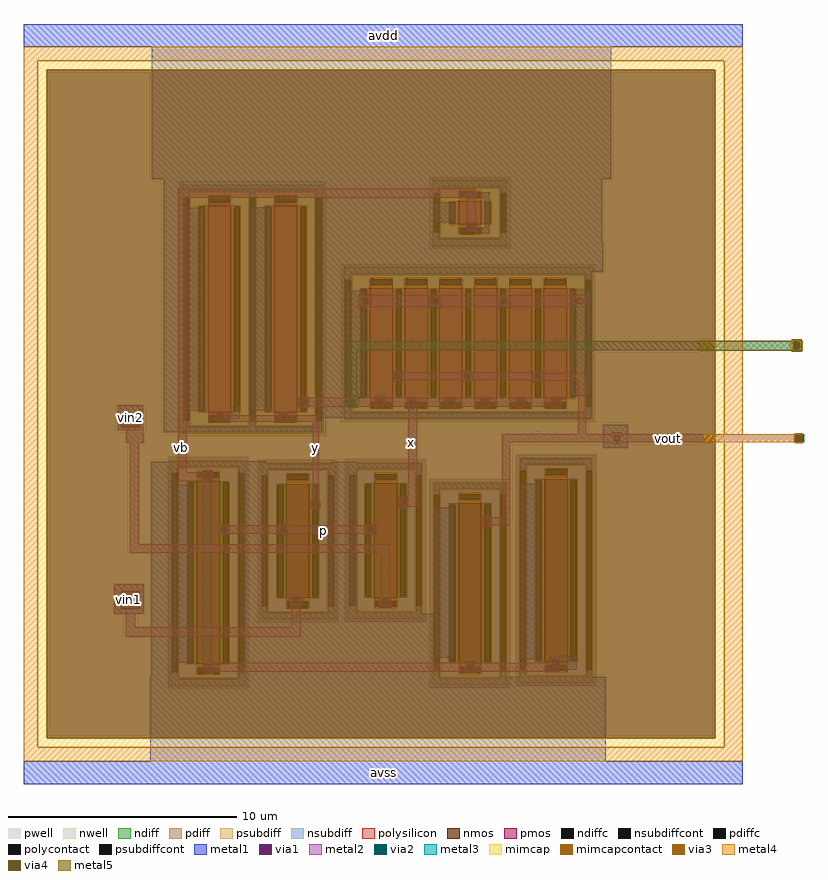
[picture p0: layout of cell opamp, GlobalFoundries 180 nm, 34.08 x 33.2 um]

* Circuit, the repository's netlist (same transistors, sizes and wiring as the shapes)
** sch_path: /foss/designs/libs/snn_analog/sch/opamp/opamp.sch
.subckt opamp avdd avss vin1 vin2 vout
*.PININFO avdd:B avss:B vin1:I vin2:I vout:O
M1 y vin1 net1 avss nfet_03v3 L=1u W=5u nf=1
M2 x vin2 net1 avss nfet_03v3 L=1u W=5u nf=1
M3 y y avdd avdd pfet_03v3 L=1u W=9u nf=1
M4 x y avdd avdd pfet_03v3 L=1u W=9u nf=1
M5 net1 vb avss avss nfet_03v3 L=1u W=8u nf=1
M6 vout x avdd avdd pfet_03v3 L=1u W=28.8u nf=6
M7 vout vb avss avss nfet_03v3 L=1u W=7u nf=1
M8 vb vb avss avss nfet_03v3 L=1u W=8u nf=1
M9 vb vb avdd avdd pfet_03v3 L=1u W=1u nf=1
XC1 x vout cap_mim_2f0fF c_width=30e-6 c_length=30e-6
.ends

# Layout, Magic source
magic
tech gf180mcuD
magscale 1 10
<< metal1 >>
rect 0 6440 6280 6640
rect 1117 5282 5129 6440
rect 1222 5227 5052 5282
rect 1222 5209 3598 5227
rect 1222 5036 1418 5209
rect 2578 5080 3598 5209
rect 3835 5124 4071 5170
rect 3994 5123 4071 5124
rect 1981 5040 2020 5051
rect 818 3171 1044 3308
rect 818 3119 854 3171
rect 1010 3119 1044 3171
rect 818 3091 1044 3119
rect 1222 3265 1575 5036
rect 1222 3074 1418 3265
rect 1677 3247 1750 3252
rect 1828 3247 1884 3306
rect 1981 3267 2166 5040
rect 2578 4910 3770 5080
rect 4025 4920 4071 5123
rect 2578 4738 3598 4910
rect 3859 4897 3956 4908
rect 3859 4845 3881 4897
rect 3933 4859 3956 4897
rect 4024 4859 4071 4920
rect 3933 4845 4071 4859
rect 3859 4835 4071 4845
rect 3944 4813 4071 4835
rect 4188 4738 5052 5227
rect 2578 4475 5063 4738
rect 2578 4472 3598 4475
rect 2578 4310 2833 4472
rect 2578 4280 2980 4310
rect 2578 4244 3039 4280
rect 2578 4192 2956 4244
rect 3008 4192 3039 4244
rect 2578 4167 3039 4192
rect 3532 4246 3651 4271
rect 3532 4194 3567 4246
rect 3619 4194 3651 4246
rect 2406 3360 2489 3387
rect 2406 3308 2421 3360
rect 2473 3308 2489 3360
rect 2406 3282 2489 3308
rect 2578 3380 2980 4167
rect 3532 4158 3651 4194
rect 4135 4246 4254 4276
rect 4135 4194 4168 4246
rect 4220 4194 4254 4246
rect 4135 4163 4254 4194
rect 4770 4246 4960 4320
rect 4770 4194 4831 4246
rect 4883 4194 4960 4246
rect 3232 3587 3310 3610
rect 3232 3535 3243 3587
rect 3295 3535 3310 3587
rect 3232 3512 3310 3535
rect 3834 3587 3919 3610
rect 3834 3535 3853 3587
rect 3905 3535 3919 3587
rect 3834 3513 3919 3535
rect 4441 3587 4539 3605
rect 4441 3535 4464 3587
rect 4516 3535 4539 3587
rect 4441 3516 4539 3535
rect 1981 3254 2018 3267
rect 1677 3245 1884 3247
rect 1677 3193 1691 3245
rect 1743 3193 1884 3245
rect 1677 3191 1884 3193
rect 2228 3247 2309 3254
rect 2228 3195 2242 3247
rect 2294 3195 2309 3247
rect 2578 3200 2833 3380
rect 3069 3361 3152 3397
rect 4770 3390 4960 4194
rect 3069 3309 3084 3361
rect 3136 3309 3152 3361
rect 3069 3292 3152 3309
rect 3343 3361 3450 3381
rect 3688 3374 3765 3382
rect 3343 3309 3369 3361
rect 3421 3309 3450 3361
rect 3343 3296 3450 3309
rect 3680 3360 3773 3374
rect 3680 3308 3700 3360
rect 3752 3308 3773 3360
rect 3680 3295 3773 3308
rect 3985 3360 4067 3385
rect 3985 3308 3999 3360
rect 4051 3308 4067 3360
rect 3072 3289 3149 3292
rect 3688 3289 3765 3295
rect 3985 3289 4067 3308
rect 4299 3360 4381 3385
rect 4299 3308 4313 3360
rect 4365 3308 4381 3360
rect 4299 3289 4381 3308
rect 4605 3360 4695 3385
rect 4605 3308 4619 3360
rect 4671 3308 4695 3360
rect 4605 3289 4695 3308
rect 2228 3191 2309 3195
rect 1677 3184 1750 3191
rect 5062 3046 5277 3139
rect 5062 2994 5155 3046
rect 5207 2994 5277 3046
rect 5062 2938 5277 2994
rect 1110 2614 1325 2815
rect 1561 2720 1638 2722
rect 1551 2709 1654 2720
rect 1551 2657 1576 2709
rect 1628 2657 1654 2709
rect 1551 2647 1654 2657
rect 788 1744 1043 1746
rect 787 1686 1045 1744
rect 787 1530 851 1686
rect 1007 1530 1045 1686
rect 787 1487 1045 1530
rect 1110 1060 1471 2614
rect 1110 939 1325 1060
rect 1561 1059 1638 2647
rect 1894 2600 2115 2818
rect 2691 2663 2912 2815
rect 1708 2250 1796 2269
rect 1708 2198 1726 2250
rect 1778 2198 1796 2250
rect 1708 2179 1796 2198
rect 1898 1644 2115 2600
rect 2509 2462 2590 2465
rect 2509 2410 2523 2462
rect 2575 2410 2590 2462
rect 2509 2400 2590 2410
rect 2220 2250 2307 2272
rect 2220 2198 2238 2250
rect 2290 2198 2307 2250
rect 2220 2176 2307 2198
rect 1894 1488 2115 1644
rect 2323 1635 2429 1658
rect 2323 1583 2350 1635
rect 2402 1583 2429 1635
rect 2323 1567 2429 1583
rect 2660 1488 2912 2663
rect 3271 2485 3358 2511
rect 3271 2433 3290 2485
rect 3342 2433 3358 2485
rect 3271 2408 3358 2433
rect 2985 2261 3072 2269
rect 2984 2250 3072 2261
rect 2984 2198 3002 2250
rect 3054 2198 3072 2250
rect 2984 2187 3072 2198
rect 2985 2179 3072 2187
rect 3105 1619 3207 1633
rect 3105 1567 3129 1619
rect 3181 1567 3207 1619
rect 3105 1547 3207 1567
rect 3586 1488 3756 2412
rect 4006 2321 4088 2344
rect 4006 2269 4023 2321
rect 4075 2269 4088 2321
rect 4006 2246 4088 2269
rect 1894 1457 3756 1488
rect 1898 1101 3756 1457
rect 1561 1046 1671 1059
rect 1561 994 1594 1046
rect 1646 994 1671 1046
rect 1561 992 1671 994
rect 1569 981 1671 992
rect 1898 939 3606 1101
rect 4333 1091 4504 2624
rect 4670 1103 4830 1120
rect 4590 1090 4830 1103
rect 3861 1046 3939 1071
rect 3861 994 3874 1046
rect 3926 994 3939 1046
rect 4590 1038 4615 1090
rect 4667 1038 4830 1090
rect 4590 1025 4830 1038
rect 4670 1000 4830 1025
rect 3861 972 3939 994
rect 1101 897 1356 939
rect 1878 921 3629 939
rect 4165 921 5083 939
rect 1878 897 5083 921
rect 1101 200 5083 897
rect 0 0 6280 200
<< via1 >>
rect 854 3119 1010 3171
rect 3881 4845 3933 4897
rect 2956 4192 3008 4244
rect 3567 4194 3619 4246
rect 2421 3308 2473 3360
rect 4168 4194 4220 4246
rect 4831 4194 4883 4246
rect 3243 3535 3295 3587
rect 3853 3535 3905 3587
rect 4464 3535 4516 3587
rect 1691 3193 1743 3245
rect 2242 3195 2294 3247
rect 3084 3309 3136 3361
rect 3369 3309 3421 3361
rect 3700 3308 3752 3360
rect 3999 3308 4051 3360
rect 4313 3308 4365 3360
rect 4619 3308 4671 3360
rect 5155 2994 5207 3046
rect 1576 2657 1628 2709
rect 851 1530 1007 1686
rect 1726 2198 1778 2250
rect 2523 2410 2575 2462
rect 2238 2198 2290 2250
rect 2350 1583 2402 1635
rect 3290 2433 3342 2485
rect 3002 2198 3054 2250
rect 3129 1567 3181 1619
rect 4023 2269 4075 2321
rect 1594 994 1646 1046
rect 3874 994 3926 1046
rect 4615 1038 4667 1090
<< metal2 >>
rect 1346 5122 3946 5199
rect 818 3171 1044 3308
rect 818 3119 854 3171
rect 1010 3119 1044 3171
rect 818 3091 1044 3119
rect 894 3057 1044 3091
rect 894 2980 1046 3057
rect 924 2096 1001 2980
rect 1346 2722 1423 5122
rect 3869 4897 3946 5122
rect 3869 4845 3881 4897
rect 3933 4845 3946 4897
rect 3869 4823 3946 4845
rect 2920 4246 4906 4273
rect 2920 4244 3567 4246
rect 2920 4192 2956 4244
rect 3008 4194 3567 4244
rect 3619 4194 4168 4246
rect 4220 4194 4831 4246
rect 4883 4194 4906 4246
rect 3008 4192 4906 4194
rect 2920 4167 4906 4192
rect 3232 3596 3310 3610
rect 3834 3596 3919 3610
rect 4441 3596 4539 3605
rect 3226 3592 4539 3596
rect 3226 3587 4914 3592
rect 3226 3535 3243 3587
rect 3295 3535 3853 3587
rect 3905 3535 4464 3587
rect 4516 3535 4914 3587
rect 3226 3526 4914 3535
rect 3232 3512 3310 3526
rect 3834 3513 3919 3526
rect 4418 3522 4914 3526
rect 4441 3516 4539 3522
rect 4455 3507 4525 3516
rect 2406 3373 2489 3387
rect 2831 3373 2914 3383
rect 3069 3374 3152 3397
rect 3343 3374 3450 3381
rect 3064 3373 3450 3374
rect 3681 3373 3773 3382
rect 3985 3373 4067 3385
rect 4299 3373 4381 3385
rect 4605 3373 4695 3385
rect 2401 3362 4695 3373
rect 2401 3360 2844 3362
rect 2401 3308 2421 3360
rect 2473 3308 2844 3360
rect 2401 3306 2844 3308
rect 2900 3361 4695 3362
rect 2900 3309 3084 3361
rect 3136 3309 3369 3361
rect 3421 3360 4695 3361
rect 3421 3309 3700 3360
rect 2900 3308 3700 3309
rect 3752 3308 3999 3360
rect 4051 3308 4313 3360
rect 4365 3308 4619 3360
rect 4671 3308 4695 3360
rect 2900 3306 4695 3308
rect 2401 3296 4695 3306
rect 2406 3282 2489 3296
rect 2831 3286 2914 3296
rect 3069 3292 3152 3296
rect 1689 3252 1745 3258
rect 1677 3245 1750 3252
rect 1677 3193 1691 3245
rect 1743 3223 1750 3245
rect 2228 3247 2309 3254
rect 2228 3223 2242 3247
rect 1743 3195 2242 3223
rect 2294 3221 2309 3247
rect 2420 3221 2577 3223
rect 2294 3195 2577 3221
rect 1743 3193 2577 3195
rect 1677 3184 2577 3193
rect 1689 3167 2577 3184
rect 2237 3165 2577 3167
rect 1567 2732 1644 2744
rect 1561 2722 1644 2732
rect 1346 2709 1644 2722
rect 1346 2657 1576 2709
rect 1628 2657 1644 2709
rect 1346 2645 1644 2657
rect 1561 2635 1644 2645
rect 1567 2634 1644 2635
rect 2521 2465 2577 3165
rect 3357 2511 3434 3296
rect 3681 3289 3773 3296
rect 3985 3289 4067 3296
rect 4299 3289 4381 3296
rect 4605 3289 4695 3296
rect 3689 3287 3764 3289
rect 4455 3055 4525 3059
rect 4844 3055 4914 3522
rect 5140 3055 5222 3072
rect 6735 3055 6805 3065
rect 3271 2498 3434 2511
rect 3270 2485 3434 2498
rect 2509 2462 2590 2465
rect 2509 2410 2523 2462
rect 2575 2410 2590 2462
rect 3270 2433 3290 2485
rect 3342 2433 3434 2485
rect 3270 2421 3434 2433
rect 4180 3046 6735 3055
rect 4180 2994 5155 3046
rect 5207 2994 6735 3046
rect 4180 2985 6735 2994
rect 2509 2400 2590 2410
rect 3271 2408 3358 2421
rect 4006 2330 4088 2344
rect 4180 2330 4250 2985
rect 5140 2974 5222 2985
rect 6735 2975 6805 2985
rect 4006 2321 4250 2330
rect 1708 2260 1796 2269
rect 2220 2260 2307 2272
rect 4006 2269 4023 2321
rect 4075 2269 4250 2321
rect 2985 2260 3072 2269
rect 4006 2260 4250 2269
rect 1708 2250 3092 2260
rect 1708 2198 1726 2250
rect 1778 2198 2238 2250
rect 2290 2198 3002 2250
rect 3054 2198 3092 2250
rect 4006 2246 4088 2260
rect 1708 2188 3092 2198
rect 1708 2179 1796 2188
rect 2220 2176 2307 2188
rect 2985 2179 3072 2188
rect 3117 2096 3194 2098
rect 924 2019 3194 2096
rect 787 1686 1045 1744
rect 787 1530 851 1686
rect 1007 1530 1045 1686
rect 2323 1635 2429 1658
rect 2323 1583 2350 1635
rect 2402 1583 2429 1635
rect 3117 1633 3194 2019
rect 2323 1567 2429 1583
rect 3105 1619 3207 1633
rect 3105 1567 3129 1619
rect 3181 1567 3207 1619
rect 787 1487 1045 1530
rect 888 1370 970 1487
rect 2335 1370 2417 1567
rect 3105 1546 3207 1567
rect 888 1289 2417 1370
rect 888 1288 1568 1289
rect 1678 1288 2417 1289
rect 4600 1090 4682 1121
rect 1579 1061 1661 1078
rect 4600 1061 4615 1090
rect 1579 1046 4615 1061
rect 1579 994 1594 1046
rect 1646 994 3874 1046
rect 3926 1038 4615 1046
rect 4667 1038 4682 1090
rect 3926 994 4682 1038
rect 1579 979 4682 994
rect 1579 969 1661 979
<< via2 >>
rect 2844 3306 2900 3362
rect 6735 2985 6805 3055
<< metal3 >>
rect 2834 3857 6798 3868
rect 2834 3801 6721 3857
rect 6777 3801 6798 3857
rect 2834 3791 6798 3801
rect 2834 3373 2911 3791
rect 2821 3362 2924 3373
rect 2821 3306 2844 3362
rect 2900 3306 2924 3362
rect 2821 3296 2924 3306
rect 6725 2985 6735 3055
rect 6805 2985 6815 3055
<< via3 >>
rect 6721 3801 6777 3857
rect 6735 2985 6805 3055
<< metal4 >>
rect 6711 3874 6788 3878
rect 6696 3858 6804 3874
rect 6696 3857 6722 3858
rect 6696 3801 6721 3857
rect 6778 3802 6804 3858
rect 6777 3801 6804 3802
rect 6696 3786 6804 3801
rect 6711 3781 6788 3786
rect 6735 3055 6805 3065
rect 5935 2985 6735 3055
rect 6735 2975 6805 2985
<< via4 >>
rect 6722 3857 6778 3858
rect 6722 3802 6777 3857
rect 6777 3802 6778 3857
<< metal5 >>
rect 6706 3874 6794 3884
rect 5906 3858 6794 3874
rect 5906 3802 6722 3858
rect 6778 3802 6794 3858
rect 5906 3786 6794 3802
rect 6706 3776 6794 3786
use cap_mim_2p0fF_LVJL5F  cap_mim_2p0fF_LVJL5F_0
transform 1 0 3240 0 1 3320
box -3240 -3120 3040 3120
use nfet_03v3_CTT5VY  M1
transform -1 0 2393 0 1 2124
box -350 -710 350 710
use nfet_03v3_CTT5VY  M2
transform -1 0 3159 0 1 2128
box -350 -710 350 710
use pfet_03v3_5MDBD5  M3
transform -1 0 1708 0 1 4150
box -350 -1110 350 1110
use pfet_03v3_5MDBD5  M4
transform -1 0 2288 0 1 4150
box -350 -1110 350 1110
use nfet_03v3_JWTLTL  M5
transform -1 0 1610 0 1 1846
box -350 -1010 350 1010
use pfet_03v3_U949MW  M6
transform 1 0 3882 0 1 3850
box -1110 -690 1110 690
use nfet_03v3_HVW9XU  M7
transform -1 0 3897 0 1 1753
box -350 -910 350 910
use nfet_03v3_JWTLTL  M8
transform -1 0 4649 0 1 1868
box -350 -1010 350 1010
use pfet_03v3_9TRV9F  M9
transform -1 0 3897 0 1 4990
box -350 -310 350 310
<< labels >>
flabel metal2 3388 2983 3388 2983 0 FreeSans 2000 0 0 0 x
flabel metal2 2545 2942 2545 2942 0 FreeSans 2000 0 0 0 y
flabel metal2 2618 2216 2618 2216 0 FreeSans 2000 0 0 0 p
flabel metal2 1378 2940 1378 2940 0 FreeSans 2000 0 0 0 vb
flabel metal1 s 0 0 6280 200 0 FreeSans 2000 0 0 0 avss
port 3 nsew
flabel metal1 s 0 6440 6280 6640 0 FreeSans 2000 0 0 0 avdd
port 5 nsew
flabel metal2 s 5181 2985 6075 3055 0 FreeSans 2000 0 0 0 vout
port 8 nsew
flabel metal2 s 818 3091 1044 3308 0 FreeSans 2000 0 0 0 vin2
port 10 nsew
flabel metal2 s 787 1487 1045 1744 0 FreeSans 2000 0 0 0 vin1
port 12 nsew
<< properties >>
string FIXED_BBOX 0 0 6804 6640
<< end >>

# cell cap_mim_2p0fF_LVJL5F: kit device cap_mim_2p0fF, w 30 l 30 val 24.9k carea 25.00 cperi 20.00 class capacitor nx 1 ny 1 dummy 0 square 0 lmin 5.00 wmin 5.00 lmax 100.0 wmax 100.0 dc 0 bconnect 1 tconnect 1

# cell nfet_03v3_CTT5VY: kit device nfet_03v3, w 5.0 l 1.0 m 1 nf 1 diffcov 100 polycov 100 guard 1 glc 1 grc 1 gtc 0 gbc 0 tbcov 100 rlcov 100 topc 1 botc 1 poverlap 0 doverlap 1 lmin 0.28 wmin 0.22 class mosfet full_metal 1 compatible {nfet_03v3 nfet_05v0 nfet_06v0 nfet_06v0_nvt}

# cell pfet_03v3_5MDBD5: kit device pfet_03v3, w 9.0 l 1.0 m 1 nf 1 diffcov 100 polycov 100 guard 1 glc 1 grc 1 gtc 0 gbc 0 tbcov 100 rlcov 100 topc 1 botc 1 poverlap 0 doverlap 1 lmin 0.28 wmin 0.22 class mosfet full_metal 1 compatible {pfet_03v3 pfet_05v0 pfet_06v0}

# cell nfet_03v3_JWTLTL: kit device nfet_03v3, w 8.0 l 1.0 m 1 nf 1 diffcov 100 polycov 100 guard 1 glc 1 grc 1 gtc 0 gbc 0 tbcov 100 rlcov 100 topc 1 botc 1 poverlap 0 doverlap 1 lmin 0.28 wmin 0.22 class mosfet full_metal 1 compatible {nfet_03v3 nfet_05v0 nfet_06v0 nfet_06v0_nvt}

# cell pfet_03v3_U949MW: kit device pfet_03v3, w 4.8 l 1.0 m 1 nf 6 diffcov 100 polycov 100 guard 1 glc 1 grc 1 gtc 0 gbc 0 tbcov 100 rlcov 100 topc 1 botc 1 poverlap 0 doverlap 1 lmin 0.28 wmin 0.22 class mosfet full_metal 1 compatible {pfet_03v3 pfet_05v0 pfet_06v0}

# cell nfet_03v3_HVW9XU: kit device nfet_03v3, w 7.0 l 1.0 m 1 nf 1 diffcov 100 polycov 100 guard 1 glc 1 grc 1 gtc 0 gbc 0 tbcov 100 rlcov 100 topc 1 botc 1 poverlap 0 doverlap 1 lmin 0.28 wmin 0.22 class mosfet full_metal 1 compatible {nfet_03v3 nfet_05v0 nfet_06v0 nfet_06v0_nvt}

# cell pfet_03v3_9TRV9F: kit device pfet_03v3, w 1.0 l 1.0 m 1 nf 1 diffcov 100 polycov 100 guard 1 glc 1 grc 1 gtc 0 gbc 0 tbcov 100 rlcov 100 topc 1 botc 1 poverlap 0 doverlap 1 lmin 0.28 wmin 0.22 class mosfet full_metal 1 compatible {pfet_03v3 pfet_05v0 pfet_06v0}
